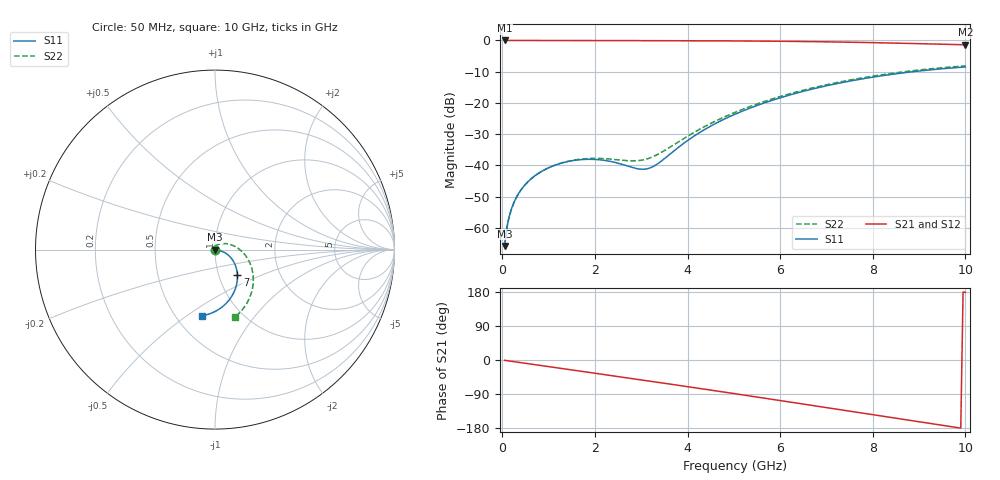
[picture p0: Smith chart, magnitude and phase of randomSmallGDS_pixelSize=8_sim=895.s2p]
! freq	dB(S11)	phase(S11)	dB(S12)	phase(S12)
!  dB(S21)	phase(S21)	dB(S22)	phase(S22)
!S-par simulation data
#  GHz  S  DB  R 50
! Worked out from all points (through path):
!   200 points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, 50 MHz to 10 GHz, reference 50 ohm
!   highest |S21| = 0.00 dB at 50 MHz (marker M1); lowest = -1.4 dB at 10 GHz (marker M2)
!   group delay of S21, straight-line fit = 50.6 ps
!   lowest |S11| = -65.8 dB at 50 MHz (marker M3), VSWR 1.00, Z = 50 - j0.0509 ohm
!   |S11| at or under -10 dB: start of sweep to 8.871 GHz
!   |S22| runs from -65.9 to -8.2 dB; largest |S21 - S12| = 0
!   S11 on the Smith chart (normalised r, x): 50 MHz: 1.00, -0.00; 7 GHz: 1.23, -0.36; 10 GHz: 0.67, -0.57
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0.05  -65.85 -86.8  -0.00 -0.9  -0.00 -0.9  -65.90 -87.4
0.1  -59.85 -89.4  -0.00 -1.8  -0.00 -1.8  -59.90 -90.6
0.15  -56.34 -90.6  -0.00 -2.6  -0.00 -2.6  -56.39 -92.5
0.2  -53.86 -91.6  -0.00 -3.5  -0.00 -3.5  -53.91 -94.1
0.35  -49.07 -93.9  -0.01 -6.2  -0.01 -6.2  -49.12 -98.3
0.5  -46.09 -96.0  -0.01 -8.8  -0.01 -8.8  -46.13 -102.4
0.75  -42.86 -99.2  -0.02 -13.1  -0.02 -13.1  -42.89 -109.1
1.05  -40.46 -102.7  -0.02 -18.4  -0.02 -18.4  -40.45 -117.4
1.4  -38.83 -106.2  -0.03 -24.5  -0.03 -24.5  -38.77 -127.8
1.75  -38.13 -108.5  -0.04 -30.6  -0.04 -30.6  -37.94 -139.6
2.25  -38.51 -107.8  -0.04 -39.3  -0.04 -39.3  -37.90 -161.3
3  -41.26 -75.2  -0.06 -52.5  -0.06 -52.5  -38.38 141.6
3.2  -40.78 -55.5  -0.07 -56.1  -0.07 -56.1  -37.56 121.6
3.4  -39.03 -37.8  -0.07 -59.6  -0.07 -59.6  -36.15 102.9
4.2  -30.07 -14.6  -0.10 -74.0  -0.10 -74.0  -28.95 54.9
5.05  -23.47 -19.4  -0.15 -89.4  -0.15 -89.4  -22.88 27.2
5.85  -19.06 -29.9  -0.24 -104.2  -0.24 -104.2  -18.63 7.4
6.7  -15.55 -43.4  -0.37 -120.1  -0.37 -120.1  -15.19 -11.2
7  -14.52 -48.4  -0.44 -125.7  -0.44 -125.7  -14.18 -17.4
8.35  -10.98 -71.9  -0.80 -151.1  -0.80 -151.1  -10.66 -43.9
9.15  -9.55 -86.2  -1.08 -166.0  -1.08 -166.0  -9.23 -58.7
10  -8.49 -101.4  -1.39 178.5  -1.39 178.5  -8.15 -73.4
